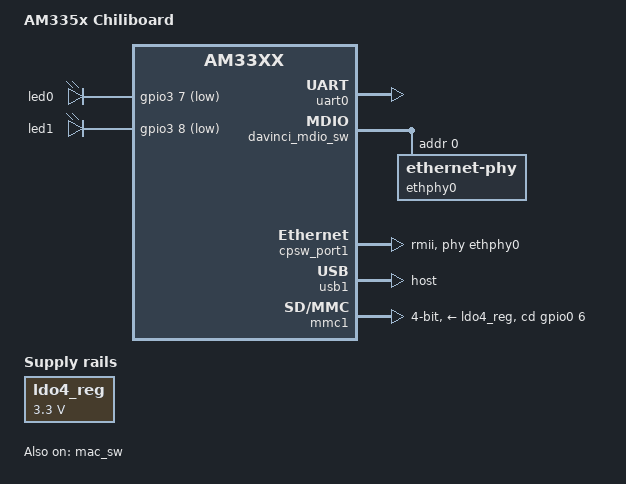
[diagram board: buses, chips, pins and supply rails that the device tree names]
// SPDX-License-Identifier: GPL-2.0-only
/*
 * Copyright (C) 2015 Jablotron s.r.o. -- https://www.jablotron.com/
 * Author: Rostislav Lisovy <lisovy@jablotron.cz>
 */
/dts-v1/;
#include "am335x-chilisom.dtsi"

/ {
	model = "AM335x Chiliboard";
	compatible = "grinn,am335x-chiliboard", "grinn,am335x-chilisom",
		     "ti,am33xx";

	chosen {
		stdout-path = &uart0;
	};

	leds {
		compatible = "gpio-leds";
		pinctrl-names = "default";
		pinctrl-0 = <&led_gpio_pins>;

		led0 {
			label = "led0";
			gpios = <&gpio3 7 GPIO_ACTIVE_LOW>;
			default-state = "keep";
			linux,default-trigger = "heartbeat";
		};

		led1 {
			label = "led1";
			gpios = <&gpio3 8 GPIO_ACTIVE_LOW>;
			default-state = "keep";
		};
	};
};

&am33xx_pinmux {
	uart0_pins: pinmux_uart0_pins {
		pinctrl-single,pins = <
			AM33XX_PADCONF(AM335X_PIN_UART0_RXD, PIN_INPUT_PULLUP, MUX_MODE0)
			AM33XX_PADCONF(AM335X_PIN_UART0_TXD, PIN_OUTPUT_PULLDOWN, MUX_MODE0)
		>;
	};

	cpsw_default: cpsw_default {
		pinctrl-single,pins = <
			/* Slave 1 */
			AM33XX_PADCONF(AM335X_PIN_MII1_CRS, PIN_INPUT_PULLDOWN, MUX_MODE1)
			AM33XX_PADCONF(AM335X_PIN_MII1_RX_ER, PIN_INPUT_PULLUP, MUX_MODE1)
			AM33XX_PADCONF(AM335X_PIN_MII1_TX_EN, PIN_OUTPUT_PULLDOWN, MUX_MODE1)
			AM33XX_PADCONF(AM335X_PIN_MII1_TXD1, PIN_OUTPUT_PULLDOWN, MUX_MODE1)
			AM33XX_PADCONF(AM335X_PIN_MII1_TXD0, PIN_OUTPUT_PULLDOWN, MUX_MODE1)
			AM33XX_PADCONF(AM335X_PIN_MII1_RXD1, PIN_INPUT_PULLUP, MUX_MODE1)
			AM33XX_PADCONF(AM335X_PIN_MII1_RXD0, PIN_INPUT_PULLUP, MUX_MODE1)
			AM33XX_PADCONF(AM335X_PIN_RMII1_REF_CLK, PIN_INPUT_PULLDOWN, MUX_MODE0)
		>;
	};

	cpsw_sleep: cpsw_sleep {
		pinctrl-single,pins = <
			/* Slave 1 reset value */
			AM33XX_PADCONF(AM335X_PIN_MII1_CRS, PIN_INPUT_PULLDOWN, MUX_MODE7)
			AM33XX_PADCONF(AM335X_PIN_MII1_RX_ER, PIN_INPUT_PULLDOWN, MUX_MODE7)
			AM33XX_PADCONF(AM335X_PIN_MII1_TX_EN, PIN_INPUT_PULLDOWN, MUX_MODE7)
			AM33XX_PADCONF(AM335X_PIN_MII1_RX_DV, PIN_INPUT_PULLDOWN, MUX_MODE7)
			AM33XX_PADCONF(AM335X_PIN_MII1_TXD1, PIN_INPUT_PULLDOWN, MUX_MODE7)
			AM33XX_PADCONF(AM335X_PIN_MII1_TXD0, PIN_INPUT_PULLDOWN, MUX_MODE7)
			AM33XX_PADCONF(AM335X_PIN_MII1_RXD1, PIN_INPUT_PULLDOWN, MUX_MODE7)
			AM33XX_PADCONF(AM335X_PIN_MII1_RXD0, PIN_INPUT_PULLDOWN, MUX_MODE7)
			AM33XX_PADCONF(AM335X_PIN_RMII1_REF_CLK, PIN_INPUT_PULLDOWN, MUX_MODE7)
		>;
	};

	davinci_mdio_default: davinci_mdio_default {
		pinctrl-single,pins = <
			/* mdio_data.mdio_data */
			AM33XX_PADCONF(AM335X_PIN_MDIO, PIN_INPUT_PULLUP | SLEWCTRL_FAST, MUX_MODE0)
			/* mdio_clk.mdio_clk */
			AM33XX_PADCONF(AM335X_PIN_MDC, PIN_OUTPUT_PULLUP, MUX_MODE0)
		>;
	};

	davinci_mdio_sleep: davinci_mdio_sleep {
		pinctrl-single,pins = <
			/* MDIO reset value */
			AM33XX_PADCONF(AM335X_PIN_MDIO, PIN_INPUT_PULLDOWN, MUX_MODE7)
			AM33XX_PADCONF(AM335X_PIN_MDC, PIN_INPUT_PULLDOWN, MUX_MODE7)
		>;
	};

	usb1_drvvbus: usb1_drvvbus {
		pinctrl-single,pins = <
			AM33XX_PADCONF(AM335X_PIN_USB1_DRVVBUS, PIN_OUTPUT_PULLDOWN, MUX_MODE0)
		>;
	};

	sd_pins: pinmux_sd_card {
		pinctrl-single,pins = <
			AM33XX_PADCONF(AM335X_PIN_MMC0_DAT3, PIN_INPUT, MUX_MODE0)
			AM33XX_PADCONF(AM335X_PIN_MMC0_DAT2, PIN_INPUT, MUX_MODE0)
			AM33XX_PADCONF(AM335X_PIN_MMC0_DAT1, PIN_INPUT, MUX_MODE0)
			AM33XX_PADCONF(AM335X_PIN_MMC0_DAT0, PIN_INPUT, MUX_MODE0)
			AM33XX_PADCONF(AM335X_PIN_MMC0_CLK, PIN_INPUT, MUX_MODE0)
			AM33XX_PADCONF(AM335X_PIN_MMC0_CMD, PIN_INPUT, MUX_MODE0)
			AM33XX_PADCONF(AM335X_PIN_SPI0_CS1, PIN_INPUT, MUX_MODE7) /* spi0_cs1.gpio0_6 */
		>;
	};

	led_gpio_pins: led_gpio_pins {
		pinctrl-single,pins = <
			AM33XX_PADCONF(AM335X_PIN_EMU0, PIN_OUTPUT, MUX_MODE7) /* emu0.gpio3_7 */
			AM33XX_PADCONF(AM335X_PIN_EMU1, PIN_OUTPUT, MUX_MODE7) /* emu1.gpio3_8 */
		>;
	};
};

&uart0 {
	pinctrl-names = "default";
	pinctrl-0 = <&uart0_pins>;

	status = "okay";
};

&ldo4_reg {
	regulator-min-microvolt = <3300000>;
	regulator-max-microvolt = <3300000>;
};

/* Ethernet */
&mac_sw {
	pinctrl-names = "default", "sleep";
	pinctrl-0 = <&cpsw_default>;
	pinctrl-1 = <&cpsw_sleep>;
	status = "okay";
};

&davinci_mdio_sw {
	pinctrl-names = "default", "sleep";
	pinctrl-0 = <&davinci_mdio_default>;
	pinctrl-1 = <&davinci_mdio_sleep>;

	ethphy0: ethernet-phy@0 {
		reg = <0>;
	};
};

&cpsw_port1 {
	phy-handle = <&ethphy0>;
	phy-mode = "rmii";
	ti,dual-emac-pvid = <1>;
};

&cpsw_port2 {
	status = "disabled";
};

/* USB */
&usb1 {
	pinctrl-names = "default";
	pinctrl-0 = <&usb1_drvvbus>;
	dr_mode = "host";
};

/* microSD */
&mmc1 {
	pinctrl-names = "default";
	pinctrl-0 = <&sd_pins>;
	vmmc-supply = <&ldo4_reg>;
	bus-width = <0x4>;
	cd-gpios = <&gpio0 6 GPIO_ACTIVE_HIGH>;
	status = "okay";
};

&tps {
	interrupt-parent = <&intc>;
	interrupts = <7>; /* NNMI */

	charger {
		status = "okay";
	};

	pwrbutton {
		status = "okay";
	};
};
